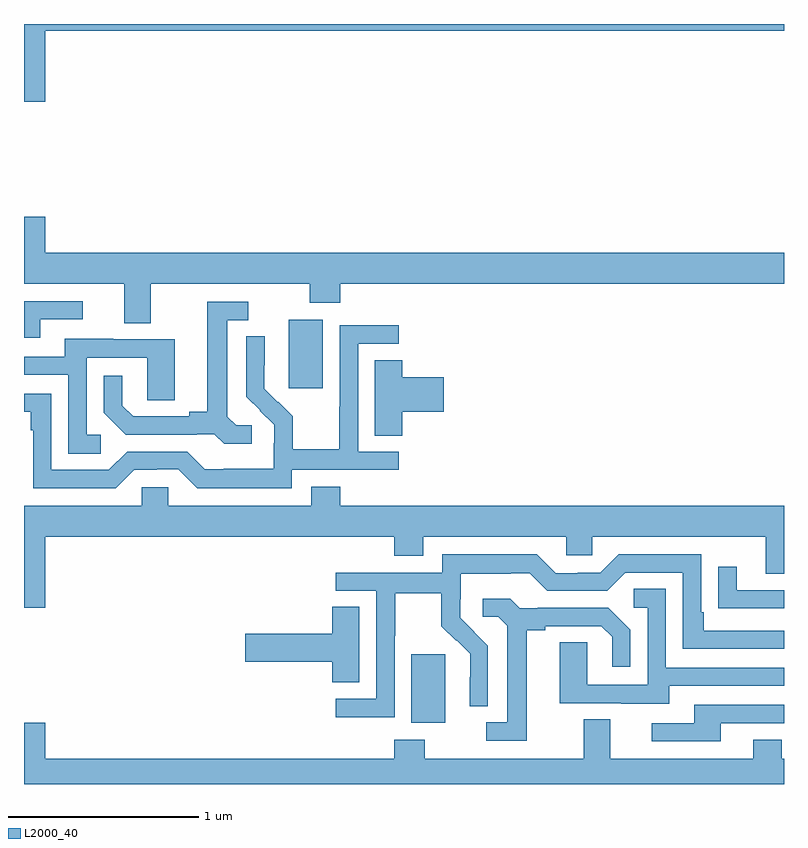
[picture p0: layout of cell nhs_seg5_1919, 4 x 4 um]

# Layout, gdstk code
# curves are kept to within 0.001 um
import gdstk
lib = gdstk.Library(unit=1e-6, precision=1e-09)
def R(c, l, rs):  # rectangles x0, y0, x1, y1
    for r in rs: c.add(gdstk.rectangle(r[:2], r[2:], *l))
def P(c, l, *ps):  # polygons
    for p in ps: c.add(gdstk.Polygon(p, *l))
L2000_40 = (2000, 40)

nhs_seg5_1919 = lib.new_cell('nhs_seg5_1919')
R(nhs_seg5_1919, L2000_40, [(227.039,849.122,227.218,849.483), (226.394,850.881,226.573,851.242)])
P(nhs_seg5_1919, L2000_40, [(229,852.799),(225,852.799),(225,852.39),(225.112,852.39),(225.112,852.764),(229,852.764)],
  [(225.667,851.432),(226.504,851.432),(226.504,851.333),(226.664,851.333),(226.664,851.432),(229,851.432),(229,851.596),(225.112,851.596),(225.112,851.785),(225,851.785),(225,851.432),(225.527,851.432),(225.527,851.224),(225.667,851.224)],
  [(225.085,851.244),(225.31,851.244),(225.31,851.34),(225,851.34),(225,851.148),(225.085,851.148)],
  [(226.198,850.686),(226.116,850.686),(226.069,850.733),(226.069,851.241),(226.18,851.241),(226.18,851.337),(225.965,851.337),(225.965,850.757),(225.869,850.757),(225.869,850.734),(225.574,850.734),(225.517,850.791),(225.517,850.948),(225.42,850.948),(225.42,850.754),(225.536,850.638),(225.908,850.638),(225.908,850.641),(226.002,850.641),(226.054,850.589),(226.198,850.589)],
  [(226.41,850.452),(226.972,850.452),(226.972,850.548),(226.758,850.548),(226.758,851.115),(226.972,851.115),(226.972,851.214),(226.662,851.214),(226.662,850.784),(226.66,850.784),(226.66,850.561),(226.415,850.561),(226.415,850.735),(226.338,850.812),(226.335,850.809),(226.265,850.88),(226.266,851.156),(226.17,851.156),(226.17,850.838),(226.316,850.69),(226.316,850.593),(226.314,850.593),(226.314,850.459),(226.051,850.459),(226.051,850.455),(225.951,850.455),(225.858,850.548),(225.543,850.548),(225.447,850.452),(225.144,850.452),(225.144,850.854),(225,850.854),(225,850.758),(225.035,850.758),(225.035,850.661),(225.048,850.661),(225.048,850.356),(225.483,850.356),(225.579,850.452),(225.698,850.452),(225.698,850.455),(225.813,850.455),(225.913,850.355),(226.41,850.355)],
  [(225.403,850.638),(225.33,850.638),(225.33,851.043),(225.648,851.043),(225.648,850.819),(225.793,850.819),(225.793,851.139),(225.469,851.139),(225.469,851.143),(225.215,851.143),(225.215,851.049),(225,851.049),(225,850.953),(225.234,850.953),(225.234,850.537),(225.403,850.537)],
  [(226.991,850.757),(227.209,850.757),(227.209,850.94),(226.991,850.94),(226.991,851.03),(226.847,851.03),(226.847,850.633),(226.991,850.633)],
  [(226.949,850.001),(227.101,850.001),(227.101,850.1),(227.853,850.1),(227.853,850.002),(227.991,850.002),(227.991,850.1),(228.905,850.1),(228.905,849.906),(229,849.906),(229,850.264),(226.664,850.264),(226.664,850.363),(226.511,850.363),(226.511,850.264),(225.759,850.264),(225.759,850.362),(225.621,850.362),(225.621,850.264),(225,850.264),(225,849.726),(225.112,849.726),(225.112,850.1),(226.949,850.1)],
  [(226.95,849.58),(226.953,849.58),(226.953,849.804),(227.197,849.804),(227.197,849.629),(227.274,849.552),(227.277,849.555),(227.348,849.485),(227.348,849.362),(227.346,849.362),(227.346,849.208),(227.442,849.208),(227.442,849.526),(227.296,849.674),(227.296,849.771),(227.298,849.771),(227.298,849.905),(227.561,849.905),(227.561,849.909),(227.661,849.909),(227.754,849.816),(228.069,849.816),(228.165,849.912),(228.468,849.912),(228.468,849.51),(229,849.51),(229,849.606),(228.577,849.606),(228.577,849.703),(228.564,849.703),(228.564,850.008),(228.129,850.008),(228.033,849.912),(227.915,849.912),(227.915,849.909),(227.799,849.909),(227.699,850.009),(227.202,850.009),(227.202,849.912),(226.641,849.912),(226.641,849.816),(226.854,849.816),(226.854,849.249),(226.641,849.249),(226.641,849.151),(226.95,849.151)],
  [(229,849.819),(228.751,849.819),(228.751,849.943),(228.655,849.943),(228.655,849.724),(228.757,849.724),(228.757,849.723),(229,849.723)],
  [(228.397,849.315),(229,849.315),(229,849.411),(228.378,849.411),(228.378,849.827),(228.21,849.827),(228.21,849.726),(228.282,849.726),(228.282,849.321),(227.964,849.321),(227.964,849.545),(227.819,849.545),(227.819,849.225),(228.143,849.225),(228.143,849.221),(228.397,849.221)],
  [(227.647,849.608),(227.743,849.608),(227.743,849.63),(228.038,849.63),(228.095,849.573),(228.095,849.417),(228.192,849.417),(228.192,849.61),(228.076,849.726),(227.704,849.726),(227.704,849.723),(227.61,849.723),(227.558,849.775),(227.415,849.775),(227.415,849.678),(227.496,849.678),(227.543,849.631),(227.543,849.123),(227.433,849.123),(227.433,849.027),(227.647,849.027)],
  [(226.765,849.731),(226.622,849.731),(226.622,849.59),(226.164,849.59),(226.164,849.443),(226.622,849.443),(226.622,849.334),(226.765,849.334)],
  [(228.667,849.12),(229,849.12),(229,849.216),(228.527,849.216),(228.527,849.12),(228.303,849.12),(228.303,849.024),(228.667,849.024)],
  [(229,848.932),(228.987,848.932),(228.987,849.031),(228.839,849.031),(228.839,848.932),(228.085,848.932),(228.085,849.14),(227.945,849.14),(227.945,848.932),(227.109,848.932),(227.109,849.031),(226.949,849.031),(226.949,848.932),(225.112,848.932),(225.112,849.121),(225,849.121),(225,848.799),(229,848.799)])

lib.write_gds('nhs_seg5_1919.gds')
